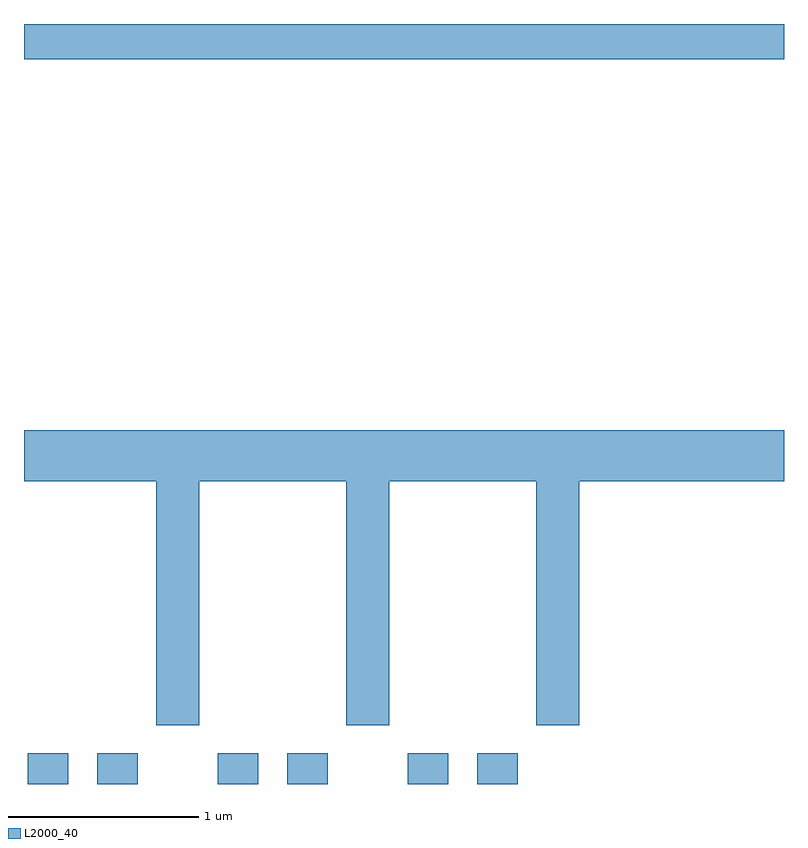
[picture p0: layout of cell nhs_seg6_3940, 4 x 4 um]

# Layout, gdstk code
import gdstk
lib = gdstk.Library(unit=1e-6, precision=1e-09)
def R(c, l, rs):  # rectangles x0, y0, x1, y1
    for r in rs: c.add(gdstk.rectangle(r[:2], r[2:], *l))
def P(c, l, *ps):  # polygons
    for p in ps: c.add(gdstk.Polygon(p, *l))
L2000_40 = (2000, 40)

nhs_seg6_3940 = lib.new_cell('nhs_seg6_3940')
R(nhs_seg6_3940, L2000_40, [(303.631,1606.162,303.844,1606.324), (303.996,1606.162,304.209,1606.324), (304.631,1606.162,304.844,1606.324), (304.996,1606.162,305.209,1606.324), (305.631,1606.162,305.844,1606.324), (305.996,1606.162,306.209,1606.324), (303.611,1609.976,307.611,1610.162)])
P(nhs_seg6_3940, L2000_40, [(304.534,1607.756),(305.306,1607.756),(305.306,1606.471),(305.534,1606.471),(305.534,1607.756),(306.306,1607.756),(306.306,1606.471),(306.534,1606.471),(306.534,1607.756),(307.611,1607.756),(307.611,1608.024),(303.611,1608.024),(303.611,1607.756),(304.306,1607.756),(304.306,1606.471),(304.534,1606.471)])

lib.write_gds('nhs_seg6_3940.gds')
